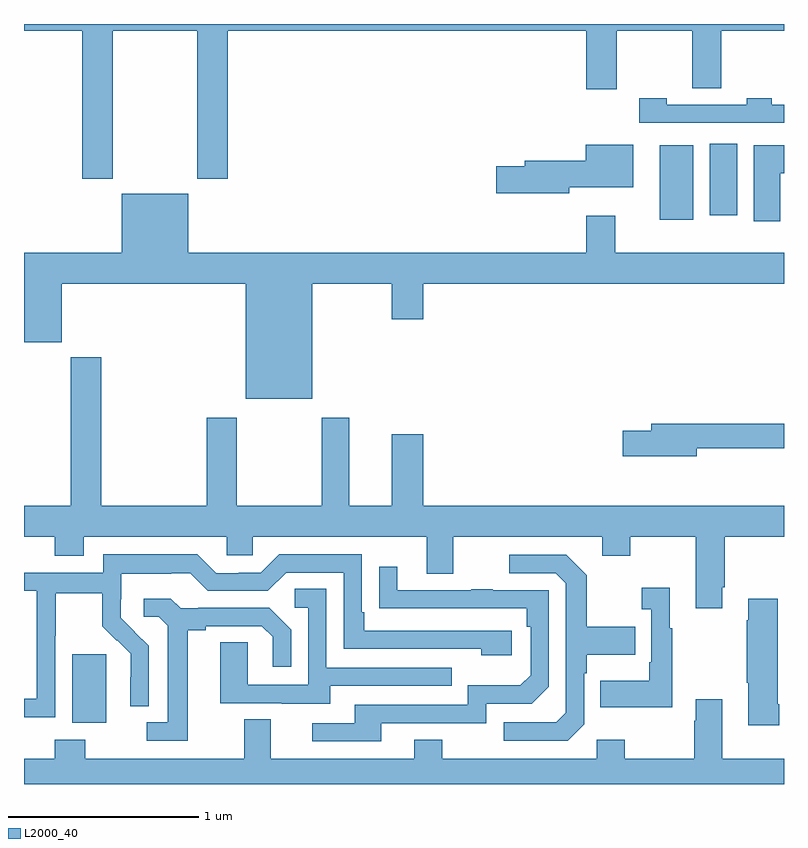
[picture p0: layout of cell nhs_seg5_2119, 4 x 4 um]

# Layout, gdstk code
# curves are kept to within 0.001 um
import gdstk
lib = gdstk.Library(unit=1e-6, precision=1e-09)
def R(c, l, rs):  # rectangles x0, y0, x1, y1
    for r in rs: c.add(gdstk.rectangle(r[:2], r[2:], *l))
def P(c, l, *ps):  # polygons
    for p in ps: c.add(gdstk.Polygon(p, *l))
L2000_40 = (2000, 40)

nhs_seg5_2119 = lib.new_cell('nhs_seg5_2119')
R(nhs_seg5_2119, L2000_40, [(235.253,849.122,235.432,849.483), (238.346,851.768,238.522,852.16), (238.61,851.793,238.753,852.169)])
P(nhs_seg5_2119, L2000_40, [(235.467,852.764),(235.912,852.764),(235.912,851.985),(236.072,851.985),(236.072,852.764),(237.959,852.764),(237.959,852.456),(238.119,852.456),(238.119,852.764),(238.516,852.764),(238.516,852.46),(238.67,852.46),(238.67,852.764),(239,852.764),(239,852.799),(235,852.799),(235,852.764),(235.307,852.764),(235.307,851.985),(235.467,851.985)],
  [(239,852.375),(238.935,852.375),(238.935,852.408),(238.803,852.408),(238.803,852.375),(238.383,852.375),(238.383,852.408),(238.239,852.408),(238.239,852.279),(239,852.279)],
  [(237.87,851.939),(238.207,851.939),(238.207,852.163),(237.956,852.163),(237.956,852.08),(237.635,852.08),(237.635,852.05),(237.486,852.05),(237.486,851.908),(237.87,851.908)],
  [(238.981,852.013),(239,852.013),(239,852.16),(238.841,852.16),(238.841,851.76),(238.981,851.76)],
  [(236.518,851.432),(236.936,851.432),(236.936,851.244),(237.1,851.244),(237.1,851.432),(239,851.432),(239,851.596),(238.111,851.596),(238.111,851.791),(237.959,851.791),(237.959,851.596),(235.864,851.596),(235.864,851.905),(235.514,851.905),(235.514,851.596),(235,851.596),(235,851.123),(235.198,851.123),(235.198,851.432),(236.168,851.432),(236.168,850.826),(236.518,850.826)],
  [(238.675,849.835),(238.688,849.835),(238.688,850.1),(239,850.1),(239,850.264),(237.1,850.264),(237.1,850.639),(236.936,850.639),(236.936,850.264),(236.713,850.264),(236.713,850.726),(236.566,850.726),(236.566,850.264),(236.121,850.264),(236.121,850.726),(235.961,850.726),(235.961,850.264),(235.406,850.264),(235.406,851.044),(235.246,851.044),(235.246,850.264),(235,850.264),(235,850.1),(235.163,850.1),(235.163,850.001),(235.315,850.001),(235.315,850.1),(236.067,850.1),(236.067,850.002),(236.205,850.002),(236.205,850.1),(237.119,850.1),(237.119,849.906),(237.259,849.906),(237.259,850.1),(238.043,850.1),(238.043,850.001),(238.191,850.001),(238.191,850.1),(238.535,850.1),(238.535,849.723),(238.675,849.723)],
  [(238.54,850.566),(239,850.566),(239,850.694),(238.301,850.694),(238.301,850.658),(238.152,850.658),(238.152,850.523),(238.54,850.523)],
  [(235.164,849.58),(235.167,849.58),(235.167,849.804),(235.411,849.804),(235.411,849.629),(235.488,849.552),(235.491,849.555),(235.562,849.485),(235.562,849.362),(235.56,849.362),(235.56,849.208),(235.656,849.208),(235.656,849.526),(235.51,849.674),(235.51,849.771),(235.512,849.771),(235.512,849.905),(235.775,849.905),(235.775,849.909),(235.875,849.909),(235.968,849.816),(236.283,849.816),(236.379,849.912),(236.682,849.912),(236.682,849.51),(237.407,849.51),(237.407,849.476),(237.568,849.476),(237.568,849.606),(236.791,849.606),(236.791,849.703),(236.778,849.703),(236.778,850.008),(236.343,850.008),(236.247,849.912),(236.129,849.912),(236.129,849.909),(236.013,849.909),(235.913,850.009),(235.416,850.009),(235.416,849.912),(235,849.912),(235,849.816),(235.068,849.816),(235.068,849.249),(235,849.249),(235,849.151),(235.164,849.151)],
  [(237.948,849.114),(237.948,849.383),(237.961,849.383),(237.961,849.479),(238.217,849.479),(238.217,849.627),(237.961,849.627),(237.961,849.899),(237.855,850.005),(237.555,850.005),(237.555,849.909),(237.798,849.909),(237.852,849.855),(237.852,849.174),(237.801,849.123),(237.525,849.123),(237.525,849.027),(237.861,849.027)],
  [(236.881,849.12),(237.432,849.12),(237.432,849.222),(237.672,849.222),(237.762,849.312),(237.762,849.819),(237.467,849.819),(237.467,849.824),(237.355,849.824),(237.355,849.819),(236.965,849.819),(236.965,849.943),(236.869,849.943),(236.869,849.724),(237.646,849.723),(237.646,849.626),(237.666,849.626),(237.666,849.372),(237.613,849.319),(237.336,849.319),(237.336,849.216),(236.741,849.216),(236.741,849.12),(236.517,849.12),(236.517,849.024),(236.881,849.024)],
  [(238.411,849.619),(238.399,849.619),(238.399,849.832),(238.251,849.832),(238.251,849.719),(238.302,849.719),(238.302,849.439),(238.29,849.439),(238.29,849.343),(238.033,849.343),(238.033,849.203),(238.411,849.203)],
  [(236.611,849.315),(237.251,849.315),(237.251,849.411),(236.592,849.411),(236.592,849.827),(236.424,849.827),(236.424,849.726),(236.496,849.726),(236.496,849.321),(236.178,849.321),(236.178,849.545),(236.033,849.545),(236.033,849.225),(236.357,849.225),(236.357,849.221),(236.611,849.221)],
  [(238.974,849.22),(238.966,849.22),(238.966,849.775),(238.811,849.775),(238.811,849.662),(238.804,849.662),(238.804,849.331),(238.811,849.331),(238.811,849.108),(238.974,849.108)],
  [(235.861,849.608),(235.957,849.608),(235.957,849.63),(236.252,849.63),(236.309,849.573),(236.309,849.417),(236.406,849.417),(236.406,849.61),(236.29,849.726),(235.918,849.726),(235.918,849.723),(235.824,849.723),(235.772,849.775),(235.629,849.775),(235.629,849.678),(235.71,849.678),(235.757,849.631),(235.757,849.123),(235.647,849.123),(235.647,849.027),(235.861,849.027)],
  [(239,848.932),(238.675,848.932),(238.675,849.244),(238.535,849.244),(238.535,849.131),(238.528,849.131),(238.528,848.932),(238.161,848.932),(238.161,849.031),(238.014,849.031),(238.014,848.932),(237.201,848.932),(237.201,849.031),(237.053,849.031),(237.053,848.932),(236.299,848.932),(236.299,849.14),(236.159,849.14),(236.159,848.932),(235.323,848.932),(235.323,849.031),(235.163,849.031),(235.163,848.932),(235,848.932),(235,848.799),(239,848.799)])

lib.write_gds('nhs_seg5_2119.gds')
